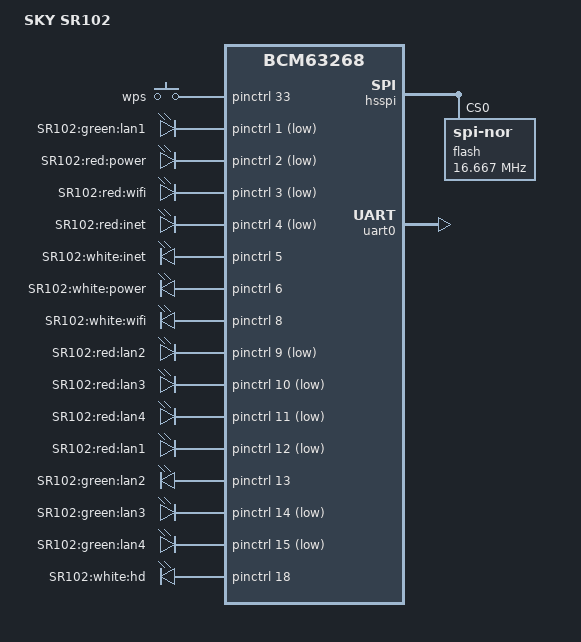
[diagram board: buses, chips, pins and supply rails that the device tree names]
/dts-v1/;

#include "bcm63268.dtsi"

#include <dt-bindings/input/input.h>

/ {
	model = "SKY SR102";
	compatible = "sky,sr102", "brcm,bcm63268";

	chosen {
		bootargs = "rootfstype=squashfs,jffs2 noinitrd console=ttyS0,115200";
		stdout-path = "serial0:115200n8";
	};

	gpio-keys-polled {
		compatible = "gpio-keys-polled";
		#address-cells = <1>;
		#size-cells = <0>;
		poll-interval = <20>;
		debounce-interval = <60>;

		wps {
			label = "wps";
			gpios = <&pinctrl 33 0>;
			linux,code = <KEY_WPS_BUTTON>;
		};
	};

	gpio-leds {
		compatible = "gpio-leds";

		lan1_green {
			label = "SR102:green:lan1";
			gpios = <&pinctrl 1 1>;
		};
		power_red {
			label = "SR102:red:power";
			gpios = <&pinctrl 2 1>;
		};
		wifi_red {
			label = "SR102:red:wifi";
			gpios = <&pinctrl 3 1>;
		};
		inet_red {
			label = "SR102:red:inet";
			gpios = <&pinctrl 4 1>;
		};
		inet_white {
			label = "SR102:white:inet";
			gpios = <&pinctrl 5 0>;
		};
		power_white {
			label = "SR102:white:power";
			gpios = <&pinctrl 6 0>;
			default-state = "on";
		};
		wifi_white {
			label = "SR102:white:wifi";
			gpios = <&pinctrl 8 0>;
		};
		lan2_red {
			label = "SR102:red:lan2";
			gpios = <&pinctrl 9 1>;
		};
		lan3_red {
			label = "SR102:red:lan3";
			gpios = <&pinctrl 10 1>;
		};
		lan4_red {
			label = "SR102:red:lan4";
			gpios = <&pinctrl 11 1>;
		};
		lan1_red {
			label = "SR102:red:lan1";
			gpios = <&pinctrl 12 1>;
		};
		lan2_green {
			label = "SR102:green:lan2";
			gpios = <&pinctrl 13 0>;
		};
		lan3_green {
			label = "SR102:green:lan3";
			gpios = <&pinctrl 14 1>;
		};
		lan4_green {
			label = "SR102:green:lan4";
			gpios = <&pinctrl 15 1>;
		};
		hd_white {
			label = "SR102:white:hd";
			gpios = <&pinctrl 18 0>;
		};
	};
};

&hsspi {
	status = "ok";

	flash@0 {
		compatible = "jedec,spi-nor";
		spi-max-frequency = <16666667>;
		spi-tx-bus-width = <2>;
		spi-rx-bus-width = <2>;
		reg = <0>;

		#address-cells = <1>;
		#size-cells = <1>;

		partitions {
			compatible = "brcm,bcm963xx-cfe-nor-partitions";
		};
	};
};

&uart0 {
	status = "ok";
};
